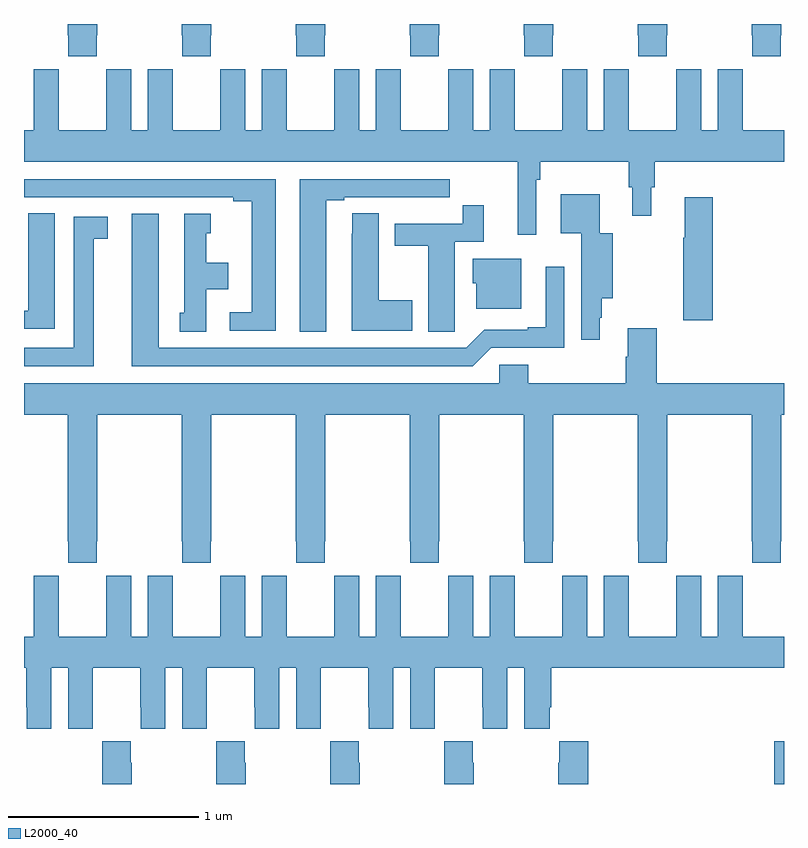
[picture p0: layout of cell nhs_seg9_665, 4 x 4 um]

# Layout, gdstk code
import gdstk
lib = gdstk.Library(unit=1e-6, precision=1e-09)
def R(c, l, rs):  # rectangles x0, y0, x1, y1
    for r in rs: c.add(gdstk.rectangle(r[:2], r[2:], *l))
def P(c, l, *ps):  # polygons
    for p in ps: c.add(gdstk.Polygon(p, *l))
L2000_40 = (2000, 40)

nhs_seg9_665 = lib.new_cell('nhs_seg9_665')
R(nhs_seg9_665, L2000_40, [(148.949,1170.5,149,1170.724)])
P(nhs_seg9_665, L2000_40, [(145.983,1174.441),(145.986,1174.441),(145.986,1174.5),(145.831,1174.5),(145.831,1174.441),(145.833,1174.441),(145.833,1174.329),(145.983,1174.329)],
  [(145.231,1174.441),(145.233,1174.441),(145.233,1174.329),(145.383,1174.329),(145.383,1174.441),(145.386,1174.441),(145.386,1174.5),(145.231,1174.5)],
  [(148.983,1174.441),(148.986,1174.441),(148.986,1174.5),(148.831,1174.5),(148.831,1174.441),(148.833,1174.441),(148.833,1174.329),(148.983,1174.329)],
  [(148.383,1174.441),(148.386,1174.441),(148.386,1174.5),(148.231,1174.5),(148.231,1174.441),(148.233,1174.441),(148.233,1174.329),(148.383,1174.329)],
  [(147.183,1174.441),(147.186,1174.441),(147.186,1174.5),(147.031,1174.5),(147.031,1174.441),(147.033,1174.441),(147.033,1174.329),(147.183,1174.329)],
  [(146.583,1174.441),(146.586,1174.441),(146.586,1174.5),(146.431,1174.5),(146.431,1174.441),(146.433,1174.441),(146.433,1174.329),(146.583,1174.329)],
  [(147.783,1174.441),(147.786,1174.441),(147.786,1174.5),(147.631,1174.5),(147.631,1174.441),(147.633,1174.441),(147.633,1174.329),(147.783,1174.329)],
  [(147.696,1173.68),(147.716,1173.68),(147.716,1173.776),(148.183,1173.776),(148.183,1173.642),(148.202,1173.642),(148.202,1173.492),(148.3,1173.492),(148.3,1173.642),(148.319,1173.642),(148.319,1173.776),(149,1173.776),(149,1173.94),(148.783,1173.94),(148.783,1174.148),(148.782,1174.148),(148.782,1174.261),(148.652,1174.261),(148.652,1173.94),(148.564,1173.94),(148.564,1174.261),(148.434,1174.261),(148.434,1174.148),(148.433,1174.148),(148.433,1173.94),(148.183,1173.94),(148.183,1174.148),(148.182,1174.148),(148.182,1174.261),(148.052,1174.261),(148.052,1173.94),(147.964,1173.94),(147.964,1174.261),(147.834,1174.261),(147.834,1174.148),(147.833,1174.148),(147.833,1173.94),(147.583,1173.94),(147.583,1174.148),(147.582,1174.148),(147.582,1174.261),(147.452,1174.261),(147.452,1173.94),(147.364,1173.94),(147.364,1174.261),(147.234,1174.261),(147.234,1174.148),(147.233,1174.148),(147.233,1173.94),(146.983,1173.94),(146.983,1174.148),(146.982,1174.148),(146.982,1174.261),(146.852,1174.261),(146.852,1173.94),(146.764,1173.94),(146.764,1174.261),(146.634,1174.261),(146.634,1174.148),(146.633,1174.148),(146.633,1173.94),(146.383,1173.94),(146.383,1174.148),(146.382,1174.148),(146.382,1174.261),(146.252,1174.261),(146.252,1173.94),(146.164,1173.94),(146.164,1174.261),(146.034,1174.261),(146.034,1174.148),(146.033,1174.148),(146.033,1173.94),(145.783,1173.94),(145.783,1174.148),(145.782,1174.148),(145.782,1174.261),(145.652,1174.261),(145.652,1173.94),(145.564,1173.94),(145.564,1174.261),(145.434,1174.261),(145.434,1174.148),(145.433,1174.148),(145.433,1173.94),(145.183,1173.94),(145.183,1174.148),(145.182,1174.148),(145.182,1174.261),(145.052,1174.261),(145.052,1173.94),(145,1173.94),(145,1173.776),(147.599,1173.776),(147.599,1173.39),(147.696,1173.39)],
  [(146.59,1173.573),(146.686,1173.573),(146.686,1173.588),(146.962,1173.588),(146.962,1173.587),(147.128,1173.587),(147.128,1173.588),(147.241,1173.588),(147.241,1173.684),(146.45,1173.684),(146.45,1172.881),(146.59,1172.881)],
  [(146.326,1173.684),(145,1173.684),(145,1173.588),(146.102,1173.588),(146.102,1173.568),(146.198,1173.568),(146.198,1172.982),(146.082,1172.982),(146.082,1172.886),(146.326,1172.886)],
  [(148.03,1172.955),(148.042,1172.955),(148.042,1173.056),(148.098,1173.056),(148.098,1173.4),(148.03,1173.4),(148.03,1173.604),(147.824,1173.604),(147.824,1173.398),(147.932,1173.398),(147.932,1173.16),(147.933,1173.16),(147.933,1172.838),(148.03,1172.838)],
  [(148.625,1173.589),(148.478,1173.589),(148.478,1173.376),(148.471,1173.376),(148.471,1172.94),(148.625,1172.94)],
  [(147.267,1172.992),(147.268,1172.992),(147.268,1173.354),(147.419,1173.354),(147.419,1173.547),(147.31,1173.547),(147.31,1173.45),(146.951,1173.45),(146.951,1173.334),(147.128,1173.334),(147.128,1172.881),(147.267,1172.881)],
  [(145.162,1173.503),(145.023,1173.503),(145.023,1173.395),(145.022,1173.395),(145.022,1172.992),(145,1172.992),(145,1172.895),(145.162,1172.895)],
  [(147.043,1173.045),(146.866,1173.045),(146.866,1173.503),(146.727,1173.503),(146.727,1173.395),(146.726,1173.395),(146.726,1172.885),(147.043,1172.885)],
  [(145.96,1173.104),(146.074,1173.104),(146.074,1173.244),(145.96,1173.244),(145.96,1173.399),(145.984,1173.399),(145.984,1173.502),(145.844,1173.502),(145.844,1172.979),(145.82,1172.979),(145.82,1172.881),(145.96,1172.881)],
  [(147.459,1172.796),(147.843,1172.796),(147.843,1173.223),(147.746,1173.223),(147.746,1172.905),(147.65,1172.905),(147.65,1172.892),(147.423,1172.892),(147.327,1172.796),(145.708,1172.796),(145.708,1173.502),(145.568,1173.502),(145.568,1172.7),(147.363,1172.7)],
  [(145.366,1173.37),(145.441,1173.37),(145.441,1173.486),(145.262,1173.486),(145.262,1172.796),(145,1172.796),(145,1172.7),(145.366,1172.7)],
  [(147.616,1173.265),(147.362,1173.265),(147.362,1173.135),(147.38,1173.135),(147.38,1173.002),(147.616,1173.002)],
  [(145,1172.444),(145.231,1172.444),(145.231,1171.777),(145.233,1171.777),(145.233,1171.665),(145.383,1171.665),(145.383,1171.777),(145.386,1171.777),(145.386,1172.444),(145.831,1172.444),(145.831,1171.777),(145.833,1171.777),(145.833,1171.665),(145.983,1171.665),(145.983,1171.777),(145.986,1171.777),(145.986,1172.444),(146.431,1172.444),(146.431,1171.777),(146.433,1171.777),(146.433,1171.665),(146.583,1171.665),(146.583,1171.777),(146.586,1171.777),(146.586,1172.444),(147.031,1172.444),(147.031,1171.777),(147.033,1171.777),(147.033,1171.665),(147.183,1171.665),(147.183,1171.777),(147.186,1171.777),(147.186,1172.444),(147.631,1172.444),(147.631,1171.777),(147.633,1171.777),(147.633,1171.665),(147.783,1171.665),(147.783,1171.777),(147.786,1171.777),(147.786,1172.444),(148.231,1172.444),(148.231,1171.777),(148.233,1171.777),(148.233,1171.665),(148.383,1171.665),(148.383,1171.777),(148.386,1171.777),(148.386,1172.444),(148.831,1172.444),(148.831,1171.777),(148.833,1171.777),(148.833,1171.665),(148.983,1171.665),(148.983,1171.777),(148.986,1171.777),(148.986,1172.444),(149,1172.444),(149,1172.608),(148.331,1172.608),(148.331,1172.899),(148.178,1172.899),(148.178,1172.75),(148.166,1172.75),(148.166,1172.608),(147.653,1172.608),(147.653,1172.706),(147.501,1172.706),(147.501,1172.608),(145,1172.608)],
  [(145.832,1170.792),(145.962,1170.792),(145.962,1170.904),(145.963,1170.904),(145.963,1171.112),(146.213,1171.112),(146.213,1170.904),(146.214,1170.904),(146.214,1170.792),(146.344,1170.792),(146.344,1171.112),(146.432,1171.112),(146.432,1170.792),(146.562,1170.792),(146.562,1170.904),(146.563,1170.904),(146.563,1171.112),(146.813,1171.112),(146.813,1170.904),(146.814,1170.904),(146.814,1170.792),(146.944,1170.792),(146.944,1171.112),(147.032,1171.112),(147.032,1170.792),(147.162,1170.792),(147.162,1170.904),(147.163,1170.904),(147.163,1171.112),(147.413,1171.112),(147.413,1170.904),(147.414,1170.904),(147.414,1170.792),(147.544,1170.792),(147.544,1171.112),(147.632,1171.112),(147.632,1170.792),(147.766,1170.792),(147.766,1170.904),(147.776,1170.904),(147.776,1171.112),(149,1171.112),(149,1171.276),(148.783,1171.276),(148.783,1171.484),(148.782,1171.484),(148.782,1171.597),(148.652,1171.597),(148.652,1171.276),(148.564,1171.276),(148.564,1171.597),(148.434,1171.597),(148.434,1171.484),(148.433,1171.484),(148.433,1171.276),(148.183,1171.276),(148.183,1171.484),(148.182,1171.484),(148.182,1171.597),(148.052,1171.597),(148.052,1171.276),(147.964,1171.276),(147.964,1171.597),(147.834,1171.597),(147.834,1171.484),(147.833,1171.484),(147.833,1171.276),(147.583,1171.276),(147.583,1171.484),(147.582,1171.484),(147.582,1171.597),(147.452,1171.597),(147.452,1171.276),(147.364,1171.276),(147.364,1171.597),(147.234,1171.597),(147.234,1171.484),(147.233,1171.484),(147.233,1171.276),(146.983,1171.276),(146.983,1171.484),(146.982,1171.484),(146.982,1171.597),(146.852,1171.597),(146.852,1171.276),(146.764,1171.276),(146.764,1171.597),(146.634,1171.597),(146.634,1171.484),(146.633,1171.484),(146.633,1171.276),(146.383,1171.276),(146.383,1171.484),(146.382,1171.484),(146.382,1171.597),(146.252,1171.597),(146.252,1171.276),(146.164,1171.276),(146.164,1171.597),(146.034,1171.597),(146.034,1171.484),(146.033,1171.484),(146.033,1171.276),(145.783,1171.276),(145.783,1171.484),(145.782,1171.484),(145.782,1171.597),(145.652,1171.597),(145.652,1171.276),(145.564,1171.276),(145.564,1171.597),(145.434,1171.597),(145.434,1171.484),(145.433,1171.484),(145.433,1171.276),(145.183,1171.276),(145.183,1171.484),(145.182,1171.484),(145.182,1171.597),(145.052,1171.597),(145.052,1171.276),(145,1171.276),(145,1171.112),(145.013,1171.112),(145.013,1170.904),(145.014,1170.904),(145.014,1170.792),(145.144,1170.792),(145.144,1171.112),(145.232,1171.112),(145.232,1170.792),(145.362,1170.792),(145.362,1170.904),(145.363,1170.904),(145.363,1171.112),(145.613,1171.112),(145.613,1170.904),(145.614,1170.904),(145.614,1170.792),(145.744,1170.792),(145.744,1171.112),(145.832,1171.112)],
  [(146.166,1170.611),(146.163,1170.611),(146.163,1170.724),(146.013,1170.724),(146.013,1170.611),(146.011,1170.611),(146.011,1170.5),(146.166,1170.5)],
  [(146.766,1170.611),(146.763,1170.611),(146.763,1170.724),(146.613,1170.724),(146.613,1170.611),(146.611,1170.611),(146.611,1170.5),(146.766,1170.5)],
  [(147.366,1170.611),(147.363,1170.611),(147.363,1170.724),(147.213,1170.724),(147.213,1170.611),(147.211,1170.611),(147.211,1170.5),(147.366,1170.5)],
  [(145.566,1170.611),(145.563,1170.611),(145.563,1170.724),(145.413,1170.724),(145.413,1170.611),(145.411,1170.611),(145.411,1170.5),(145.566,1170.5)],
  [(147.971,1170.724),(147.817,1170.724),(147.817,1170.611),(147.811,1170.611),(147.811,1170.5),(147.971,1170.5)])

lib.write_gds('nhs_seg9_665.gds')
